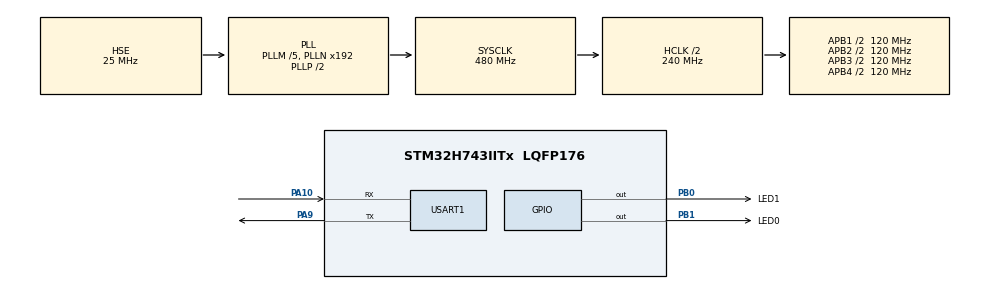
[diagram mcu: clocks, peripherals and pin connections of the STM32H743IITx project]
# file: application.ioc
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Mcu.Family=STM32H7
Mcu.Name=STM32H743IITx
Mcu.Package=LQFP176
NVIC.PriorityGroup=NVIC_PRIORITYGROUP_4
PA10.Mode=Asynchronous
PA10.Signal=USART1_RX
PA13\ (JTMS/SWDIO).Mode=JTAG_5_pins
PA13\ (JTMS/SWDIO).Signal=DEBUG_JTMS-SWDIO
PA14\ (JTCK/SWCLK).Mode=JTAG_5_pins
PA14\ (JTCK/SWCLK).Signal=DEBUG_JTCK-SWCLK
PA15\ (JTDI).Mode=JTAG_5_pins
PA15\ (JTDI).Signal=DEBUG_JTDI
PA9.Mode=Asynchronous
PA9.Signal=USART1_TX
PB0.GPIO_Label=LED1
PB0.GPIO_PuPd=GPIO_PULLUP
PB0.PinState=GPIO_PIN_SET
PB0.Signal=GPIO_Output
PB1.GPIO_Label=LED0
PB1.GPIO_PuPd=GPIO_PULLUP
PB1.PinState=GPIO_PIN_SET
PB1.Signal=GPIO_Output
PB3\ (JTDO/TRACESWO).Mode=JTAG_5_pins
PB3\ (JTDO/TRACESWO).Signal=DEBUG_JTDO-SWO
PB4\ (NJTRST).Mode=JTAG_5_pins
PB4\ (NJTRST).Signal=DEBUG_JTRST
PH0-OSC_IN\ (PH0).Mode=HSE-External-Oscillator
PH0-OSC_IN\ (PH0).Signal=RCC_OSC_IN
PH1-OSC_OUT\ (PH1).Mode=HSE-External-Oscillator
PH1-OSC_OUT\ (PH1).Signal=RCC_OSC_OUT
ProjectManager.HeapSize=0x200
ProjectManager.StackSize=0x400
ProjectManager.TargetToolchain=MDK-ARM V5.32
RCC.ADCFreq_Value=50390625
RCC.APB1Freq_Value=120000000
RCC.APB2Freq_Value=120000000
RCC.APB3Freq_Value=120000000
RCC.APB4Freq_Value=120000000
RCC.CortexFreq_Value=480000000
RCC.D1PPRE=RCC_APB3_DIV2
RCC.D2PPRE1=RCC_APB1_DIV2
RCC.D2PPRE2=RCC_APB2_DIV2
RCC.D3PPRE=RCC_APB4_DIV2
RCC.DIVM1=5
RCC.DIVN1=192
RCC.HCLKFreq_Value=240000000
RCC.HPRE=RCC_HCLK_DIV2
RCC.PLLSourceVirtual=RCC_PLLSOURCE_HSE
RCC.ProductRev=revV
RCC.SYSCLKFreq_VALUE=480000000
RCC.SYSCLKSource=RCC_SYSCLKSOURCE_PLLCLK
RCC.USBFreq_Value=480000000
USART1.VirtualMode-Asynchronous=VM_ASYNC
board=custom

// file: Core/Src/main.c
/* USER CODE BEGIN Header */
/**
  ******************************************************************************
  * @file           : main.c
  * @brief          : Main program body
  ******************************************************************************
  * @attention
  *
  * Copyright (c) 2023 STMicroelectronics.
  * All rights reserved.
  *
  * This software is licensed under terms that can be found in the LICENSE file
  * in the root directory of this software component.
  * If no LICENSE file comes with this software, it is provided AS-IS.
  *
  ******************************************************************************
  */
/* USER CODE END Header */
#include "main.h"
#include "usart.h"
#include "gpio.h"

/* USER CODE BEGIN Includes */
#include "dbger.h"
#include "string.h"
/* USER CODE END Includes */

/* USER CODE BEGIN PTD */
typedef void (*pFunction)(void);
/* USER CODE END PTD */

/* USER CODE BEGIN PD */
#define BOOTLOADER_FLAG_VALUE 			0xDEADBEEF
#define BOOTLOADER_FLAG_OFFSET 			0x50
#define BOOTLOADER_ADDRESS					(0x1FF09800)
/* USER CODE END PD */

/* USER CODE BEGIN PV */
uint32_t endstack = 0x20000400;
uint32_t *bootloader_flag;
uint32_t JumpAddress;
pFunction JumpToApplication;
/* USER CODE END PV */

void SystemClock_Config(void);

int main(void)
{
  /* USER CODE BEGIN 1 */
	bootloader_flag = (uint32_t*)(endstack - BOOTLOADER_FLAG_OFFSET);
	if(*bootloader_flag == BOOTLOADER_FLAG_VALUE) {
		*bootloader_flag = 0;
		JumpAddress = *(__IO uint32_t*)(BOOTLOADER_ADDRESS + 4);
		JumpToApplication = (pFunction)JumpAddress;
		//__set_MSP(*(__IO uint32_t*)BOOTLOADER_ADDRESS);		// NO need for system default startup address
		JumpToApplication();
	}
  /* USER CODE END 1 */

  /* MCU Configuration--------------------------------------------------------*/

  /* Reset of all peripherals, Initializes the Flash interface and the Systick. */
  HAL_Init();

  /* Configure the system clock */
  SystemClock_Config();

  /* Initialize all configured peripherals */
  MX_GPIO_Init();
  MX_USART1_UART_Init();
  /* USER CODE BEGIN 2 */
	LOG_INIT();
	LOG_INF("update by ROM demo start...\n");

	HAL_UART_Transmit(&huart1, (uint8_t*)"update by ROM demo start...\r\n", strlen("update by ROM demo start...\r\n"), 1000);
  /* USER CODE END 2 */

  /* Infinite loop */
  /* USER CODE BEGIN WHILE */
	uint32_t now = 0, then = 0;
	uint8_t rxBuf[1];
  while (1)
  {
		now = HAL_GetTick();
		if(now - then > 500)
		{
			LOG_INF("LED0 toggle...\n");
			HAL_UART_Transmit(&huart1, (uint8_t*)"LED0 toggle...\r\n", strlen("LED0 toggle...\r\n"), 1000);
			HAL_GPIO_TogglePin(LED0_GPIO_Port, LED0_Pin);
			then = now;
		}

		HAL_UART_Receive(&huart1, rxBuf, 1, 100);
		if(rxBuf[0] == 0x5A)
		{
			LOG_INF("Jump to bootloader...\n");
			HAL_UART_Transmit(&huart1, (uint8_t*)"Jump to bootloader...\r\n", strlen("Jump to bootloader...\r\n"), 1000);
			__disable_irq();
			*bootloader_flag = BOOTLOADER_FLAG_VALUE;
			HAL_NVIC_SystemReset();
		}

    /* USER CODE END WHILE */

  }
}

void SystemClock_Config(void)
{
  RCC_OscInitTypeDef RCC_OscInitStruct = {0};
  RCC_ClkInitTypeDef RCC_ClkInitStruct = {0};

  /** Supply configuration update enable
  */
  HAL_PWREx_ConfigSupply(PWR_LDO_SUPPLY);

  /** Configure the main internal regulator output voltage
  */
  __HAL_PWR_VOLTAGESCALING_CONFIG(PWR_REGULATOR_VOLTAGE_SCALE1);

  while(!__HAL_PWR_GET_FLAG(PWR_FLAG_VOSRDY)) {}

  __HAL_RCC_SYSCFG_CLK_ENABLE();
  __HAL_PWR_VOLTAGESCALING_CONFIG(PWR_REGULATOR_VOLTAGE_SCALE0);

  while(!__HAL_PWR_GET_FLAG(PWR_FLAG_VOSRDY)) {}

  /** Initializes the RCC Oscillators according to the specified parameters
  * in the RCC_OscInitTypeDef structure.
  */
  RCC_OscInitStruct.OscillatorType = RCC_OSCILLATORTYPE_HSE;
  RCC_OscInitStruct.HSEState = RCC_HSE_ON;
  RCC_OscInitStruct.PLL.PLLState = RCC_PLL_ON;
  RCC_OscInitStruct.PLL.PLLSource = RCC_PLLSOURCE_HSE;
  RCC_OscInitStruct.PLL.PLLM = 5;
  RCC_OscInitStruct.PLL.PLLN = 192;
  RCC_OscInitStruct.PLL.PLLP = 2;
  RCC_OscInitStruct.PLL.PLLQ = 2;
  RCC_OscInitStruct.PLL.PLLR = 2;
  RCC_OscInitStruct.PLL.PLLRGE = RCC_PLL1VCIRANGE_2;
  RCC_OscInitStruct.PLL.PLLVCOSEL = RCC_PLL1VCOWIDE;
  RCC_OscInitStruct.PLL.PLLFRACN = 0;
  if (HAL_RCC_OscConfig(&RCC_OscInitStruct) != HAL_OK)
  {
    Error_Handler();
  }

  /** Initializes the CPU, AHB and APB buses clocks
  */
  RCC_ClkInitStruct.ClockType = RCC_CLOCKTYPE_HCLK|RCC_CLOCKTYPE_SYSCLK
                              |RCC_CLOCKTYPE_PCLK1|RCC_CLOCKTYPE_PCLK2
                              |RCC_CLOCKTYPE_D3PCLK1|RCC_CLOCKTYPE_D1PCLK1;
  RCC_ClkInitStruct.SYSCLKSource = RCC_SYSCLKSOURCE_PLLCLK;
  RCC_ClkInitStruct.SYSCLKDivider = RCC_SYSCLK_DIV1;
  RCC_ClkInitStruct.AHBCLKDivider = RCC_HCLK_DIV2;
  RCC_ClkInitStruct.APB3CLKDivider = RCC_APB3_DIV2;
  RCC_ClkInitStruct.APB1CLKDivider = RCC_APB1_DIV2;
  RCC_ClkInitStruct.APB2CLKDivider = RCC_APB2_DIV2;
  RCC_ClkInitStruct.APB4CLKDivider = RCC_APB4_DIV2;

  if (HAL_RCC_ClockConfig(&RCC_ClkInitStruct, FLASH_LATENCY_4) != HAL_OK)
  {
    Error_Handler();
  }
}

void Error_Handler(void)
{
  __disable_irq();
  while (1)
  {
  }
}
